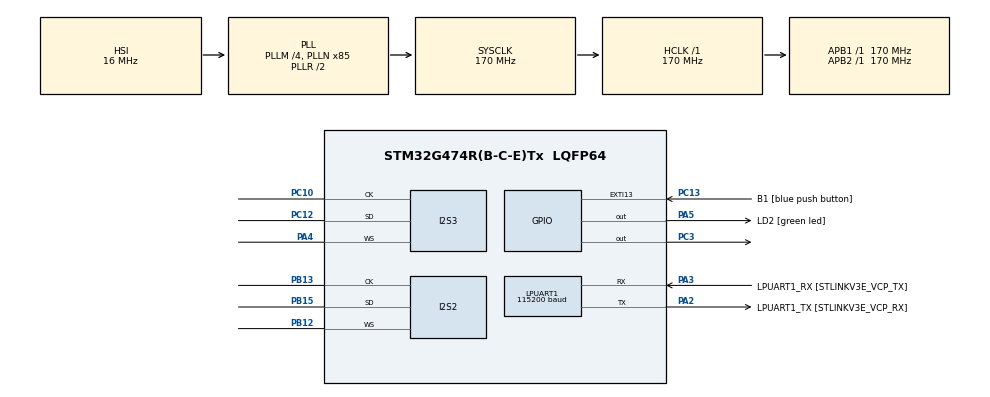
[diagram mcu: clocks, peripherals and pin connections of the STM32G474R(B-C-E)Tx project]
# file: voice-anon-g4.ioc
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Dma.LPUART1_TX.1.Direction=DMA_MEMORY_TO_PERIPH
Dma.LPUART1_TX.1.EventEnable=DISABLE
Dma.LPUART1_TX.1.Instance=DMA1_Channel2
Dma.LPUART1_TX.1.MemDataAlignment=DMA_MDATAALIGN_BYTE
Dma.LPUART1_TX.1.MemInc=DMA_MINC_ENABLE
Dma.LPUART1_TX.1.Mode=DMA_NORMAL
Dma.LPUART1_TX.1.PeriphDataAlignment=DMA_PDATAALIGN_BYTE
Dma.LPUART1_TX.1.PeriphInc=DMA_PINC_DISABLE
Dma.LPUART1_TX.1.Polarity=HAL_DMAMUX_REQ_GEN_RISING
Dma.LPUART1_TX.1.Priority=DMA_PRIORITY_LOW
Dma.LPUART1_TX.1.RequestNumber=1
Dma.LPUART1_TX.1.SignalID=NONE
Dma.LPUART1_TX.1.SyncEnable=DISABLE
Dma.LPUART1_TX.1.SyncPolarity=HAL_DMAMUX_SYNC_NO_EVENT
Dma.LPUART1_TX.1.SyncRequestNumber=1
Dma.LPUART1_TX.1.SyncSignalID=NONE
Dma.Request0=SPI2_RX
Dma.Request1=LPUART1_TX
Dma.Request2=SPI3_TX
Dma.SPI2_RX.0.Direction=DMA_PERIPH_TO_MEMORY
Dma.SPI2_RX.0.EventEnable=DISABLE
Dma.SPI2_RX.0.Instance=DMA1_Channel1
Dma.SPI2_RX.0.MemDataAlignment=DMA_MDATAALIGN_HALFWORD
Dma.SPI2_RX.0.MemInc=DMA_MINC_ENABLE
Dma.SPI2_RX.0.Mode=DMA_CIRCULAR
Dma.SPI2_RX.0.PeriphDataAlignment=DMA_PDATAALIGN_HALFWORD
Dma.SPI2_RX.0.PeriphInc=DMA_PINC_DISABLE
Dma.SPI2_RX.0.Polarity=HAL_DMAMUX_REQ_GEN_RISING
Dma.SPI2_RX.0.Priority=DMA_PRIORITY_LOW
Dma.SPI2_RX.0.RequestNumber=1
Dma.SPI2_RX.0.SignalID=NONE
Dma.SPI2_RX.0.SyncEnable=DISABLE
Dma.SPI2_RX.0.SyncPolarity=HAL_DMAMUX_SYNC_NO_EVENT
Dma.SPI2_RX.0.SyncRequestNumber=1
Dma.SPI2_RX.0.SyncSignalID=NONE
Dma.SPI3_TX.2.Direction=DMA_MEMORY_TO_PERIPH
Dma.SPI3_TX.2.EventEnable=DISABLE
Dma.SPI3_TX.2.Instance=DMA1_Channel3
Dma.SPI3_TX.2.MemDataAlignment=DMA_MDATAALIGN_HALFWORD
Dma.SPI3_TX.2.MemInc=DMA_MINC_ENABLE
Dma.SPI3_TX.2.Mode=DMA_CIRCULAR
Dma.SPI3_TX.2.PeriphDataAlignment=DMA_PDATAALIGN_HALFWORD
Dma.SPI3_TX.2.PeriphInc=DMA_PINC_DISABLE
Dma.SPI3_TX.2.Polarity=HAL_DMAMUX_REQ_GEN_RISING
Dma.SPI3_TX.2.Priority=DMA_PRIORITY_LOW
Dma.SPI3_TX.2.RequestNumber=1
Dma.SPI3_TX.2.SignalID=NONE
Dma.SPI3_TX.2.SyncEnable=DISABLE
Dma.SPI3_TX.2.SyncPolarity=HAL_DMAMUX_SYNC_NO_EVENT
Dma.SPI3_TX.2.SyncRequestNumber=1
Dma.SPI3_TX.2.SyncSignalID=NONE
I2S2.AudioFreq=I2S_AUDIOFREQ_8K
I2S2.DataFormat=I2S_DATAFORMAT_16B_EXTENDED
I2S2.ErrorAudioFreq=0.0 %
I2S2.FullDuplexMode=I2S_FULLDUPLEXMODE_DISABLE
I2S2.Instance=SPI$Index
I2S2.Mode=I2S_MODE_MASTER_RX
I2S2.RealAudioFreq=8.0 KHz
I2S2.VirtualMode=I2S_MODE_MASTER
I2S3.AudioFreq=I2S_AUDIOFREQ_8K
I2S3.DataFormat=I2S_DATAFORMAT_16B_EXTENDED
I2S3.ErrorAudioFreq=0.0 %
I2S3.FullDuplexMode=I2S_FULLDUPLEXMODE_DISABLE
I2S3.Instance=SPI$Index
I2S3.RealAudioFreq=8.0 KHz
I2S3.VirtualMode=I2S_MODE_MASTER
LPUART1.BaudRate=115200
LPUART1.Mode=UART_MODE_TX_RX
Mcu.Family=STM32G4
Mcu.Name=STM32G474R(B-C-E)Tx
Mcu.Package=LQFP64
NVIC.DMA1_Channel1_IRQn=true\:0\:0\:false\:false\:true\:false\:true\:true
NVIC.DMA1_Channel2_IRQn=true\:0\:0\:false\:false\:true\:false\:true\:true
NVIC.DMA1_Channel3_IRQn=true\:0\:0\:false\:false\:true\:false\:true\:true
NVIC.EXTI15_10_IRQn=true\:0\:0\:false\:false\:true\:true\:true\:true
NVIC.LPUART1_IRQn=true\:0\:0\:false\:false\:true\:true\:true\:true
NVIC.PriorityGroup=NVIC_PRIORITYGROUP_4
PA13.GPIO_Label=T_SWDIO
PA13.Signal=SYS_JTMS-SWDIO
PA14.GPIO_Label=T_SWCLK
PA14.Signal=SYS_JTCK-SWCLK
PA2.GPIO_Label=LPUART1_TX [STLINKV3E_VCP_RX]
PA2.Mode=Asynchronous
PA2.Signal=LPUART1_TX
PA3.GPIO_Label=LPUART1_RX [STLINKV3E_VCP_TX]
PA3.Mode=Asynchronous
PA3.Signal=LPUART1_RX
PA4.Mode=Half_Duplex_Master
PA4.Signal=I2S3_WS
PA5.GPIO_Label=LD2 [green led]
PA5.Signal=GPIO_Output
PB12.Mode=Half_Duplex_Master
PB12.Signal=I2S2_WS
PB13.Mode=Half_Duplex_Master
PB13.Signal=I2S2_CK
PB15.Mode=Half_Duplex_Master
PB15.Signal=I2S2_SD
PB3.GPIO_Label=T_SWO
PB3.Signal=SYS_JTDO-SWO
PC10.Mode=Half_Duplex_Master
PC10.Signal=I2S3_CK
PC12.Mode=Half_Duplex_Master
PC12.Signal=I2S3_SD
PC13.GPIO_Label=B1 [blue push button]
PC13.Signal=GPXTI13
PC14-OSC32_IN.Signal=RCC_OSC32_IN
PC15-OSC32_OUT.Signal=RCC_OSC32_OUT
PC3.Signal=GPIO_Output
PF0-OSC_IN.Signal=RCC_OSC_IN
PF1-OSC_OUT.Signal=RCC_OSC_OUT
ProjectManager.HeapSize=0x200
ProjectManager.StackSize=0x400
ProjectManager.TargetToolchain=STM32CubeIDE
RCC.ADC12Freq_Value=170000000
RCC.ADC345Freq_Value=170000000
RCC.AHBFreq_Value=170000000
RCC.APB1Freq_Value=170000000
RCC.APB1TimFreq_Value=170000000
RCC.APB2Freq_Value=170000000
RCC.APB2TimFreq_Value=170000000
RCC.CortexFreq_Value=170000000
RCC.EXTERNAL_CLOCK_VALUE=12288000
RCC.HCLKFreq_Value=170000000
RCC.HSE_VALUE=24000000
RCC.HSI48_VALUE=48000000
RCC.HSI_VALUE=16000000
RCC.LSE_VALUE=32768
RCC.PLLM=RCC_PLLM_DIV4
RCC.PLLN=85
RCC.RTCClockSelection=RCC_RTCCLKSOURCE_LSE
RCC.SYSCLKFreq_VALUE=170000000
RCC.SYSCLKSource=RCC_SYSCLKSOURCE_PLLCLK
RCC.USBFreq_Value=170000000
RCC.VCOOutputFreq_Value=340000000
STMicroelectronics.X-CUBE-ALGOBUILD.1.3.0.LibraryCcDSPOoLibraryJjDSPOoLibrary=true
VP_STMicroelectronics.X-CUBE-ALGOBUILD_VS_DSPOoLibraryJjLibrary_1.3.0_1.3.0.Mode=DSPOoLibraryJjLibrary
VP_SYS_VS_DBSignals.Mode=DisableDeadBatterySignals
board=NUCLEO-G474RE

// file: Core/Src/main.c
/* USER CODE BEGIN Header */
/**
  ******************************************************************************
  * @file           : main.c
  * @brief          : Main program body
  ******************************************************************************
  * @attention
  *
  * Copyright (c) 2023 STMicroelectronics.
  * All rights reserved.
  *
  * This software is licensed under terms that can be found in the LICENSE file
  * in the root directory of this software component.
  * If no LICENSE file comes with this software, it is provided AS-IS.
  *
  ******************************************************************************
  */
/* USER CODE END Header */
#include "main.h"

/* USER CODE BEGIN Includes */
#include "stdio.h"
#include "stdlib.h"
#include "math.h"
/* USER CODE END Includes */

/* USER CODE BEGIN PD */
#define SAMPLE_SIZE 8 * 1280
/* USER CODE END PD */

I2S_HandleTypeDef hi2s2;
I2S_HandleTypeDef hi2s3;
DMA_HandleTypeDef hdma_spi2_rx;
DMA_HandleTypeDef hdma_spi3_tx;

UART_HandleTypeDef hlpuart1;
DMA_HandleTypeDef hdma_lpuart1_tx;

/* USER CODE BEGIN PV */
int16_t i2s_rxBuf[SAMPLE_SIZE];
int16_t i2s_txBuf[SAMPLE_SIZE];

int16_t dataBuf[SAMPLE_SIZE/4];

volatile uint8_t rxBuf_status = 0; // 0 = empty, 1 = half, 2 = full
volatile int debug_sample_i2s;
/* USER CODE END PV */

void SystemClock_Config(void);
static void MX_GPIO_Init(void);
static void MX_DMA_Init(void);
static void MX_I2S2_Init(void);
static void MX_LPUART1_UART_Init(void);
static void MX_I2S3_Init(void);

/* USER CODE BEGIN 0 */
#define WIN_LENGTH SAMPLE_SIZE / 4
#define WIN_SHIFT WIN_LENGTH / 2
#define LPC_LEN 10
#define TRIGGER_TRESH 2000
//float *hann_coef;

typedef struct {
	int m, n;
	float ** v;
} mat_t, *mat;

mat matrix_new(int m, int n)
{
	mat x = (mat)malloc(sizeof(mat_t));
	x->v = (float**)malloc(sizeof(float*) * m);
	x->v[0] = (float*)calloc(sizeof(float), m * n);
	for (int i = 0; i < m; i++)
		x->v[i] = x->v[0] + n * i;
	x->m = m;
	x->n = n;
	return x;
}

void matrix_delete(mat m)
{
	free(m->v[0]);
	free(m->v);
	free(m);
}

void matrix_transpose(mat m)
{
	for (int i = 0; i < m->m; i++) {
		for (int j = 0; j < i; j++) {
			double t = m->v[i][j];
			m->v[i][j] = m->v[j][i];
			m->v[j][i] = t;
		}
	}
}

mat matrix_copy(int n, float a[][LPC_LEN], int m)
{
	mat x = matrix_new(m, n);
	for (int i = 0; i < m; i++)
		for (int j = 0; j < n; j++)
			x->v[i][j] = a[i][j];
	return x;
}

mat matrix_mul(mat x, mat y)
{
	if (x->n != y->m) return 0;
	mat r = matrix_new(x->m, y->n);
	for (int i = 0; i < x->m; i++)
		for (int j = 0; j < y->n; j++)
			for (int k = 0; k < x->n; k++)
				r->v[i][j] += x->v[i][k] * y->v[k][j];
	return r;
}

void gram_schmidt(mat m, mat *R, mat *Q)
{
	*Q = matrix_new(m->m, m->n);
	for (int col = 0 ; col < m->m; ++col){
		// Assign vector V_i
		for (int row = 0; row < m->n; ++row){
			(*Q)->v[row][col] = m->v[row][col];
		}
		// Subtract the projections of V_i onto the previous vectors V_i-1.. V_i-2 ... V_1
		for (int proj_col = col; proj_col > 0; --proj_col){
			// compute the dot product (u_proj_col . v) and l2 norm (||u_proj_col||^2)
			float dot_prod = 0;
			float l2_norm = 0;
			for(int row = 0; row < m->n; ++row){
				float val = ((*Q)->v[row][proj_col - 1]);
				l2_norm += val * val;
				dot_prod += m->v[row][col] * ((*Q)->v[row][proj_col - 1]);
			}
			for(int row = 0; row < m->n; ++row){
				(*Q)->v[row][col] -= (((*Q)->v[row][proj_col - 1] * dot_prod) / l2_norm);
			}
		}
		// normalize the basis column vectors
		float norms[LPC_LEN] = {0};
		for (int row = 0; row < m->m; ++row){
			for(int col = 0; col < m->n; ++col){
				float val = (*Q)->v[row][col];
				norms[col] += val * val;
			}
		}
		for (int row = 0; row < m->m; ++row){
			for(int col = 0; col < m->n; ++col){
				(*Q)->v[row][col] /= sqrt(norms[col]);
			}
		}
	}
	matrix_transpose(*Q);
	*R = matrix_mul(*Q, m);
	matrix_transpose(*Q);
}
void eigenvals(mat m, float eigen[][2]){
	float epsilon = 0.0001;
	for(int i = 0; i < m->m; ++i){
		// check the entries off the diagonals for the complex eigenvals
		if(i + 1 < m->m) {
			if(fabs(m->v[i + 1][i]) > epsilon){
				float b = (m->v[i][i] + m->v[i + 1][i + 1]);
				float c =  (m->v[i][i] * m->v[i + 1][i + 1]) - (m->v[i + 1][i] * m->v[i][i + 1]);
				float complex_val = sqrt(fabs(b * b - 4 * c)) / 2;
				eigen[i][0] = eigen[i + 1][0] = b / 2;
				eigen[i][1] = complex_val;
				eigen[i + 1][1] = -complex_val;
				++i; // skip the next diagonal since it is a complex conjugate of the previous
			}
			else{
				eigen[i][0] = m->v[i][i];
				eigen[i][1] = 0;
			}
		}
		else{
			// If it isn't a complex eigenval, it must be real
			eigen[i][0] = m->v[i][i];
			eigen[i][1] = 0;
		}
	}
}

void swap(float *xp[2], float *yp[2])
{
    float real = *xp[0];
    float imag = *xp[1];
    *xp[0] = *yp[0];
    *xp[1] = *yp[1];
    *yp[0] = real;
    *yp[1] = imag;
}

void complex_mul(float xp[2], float yp[2], float out[2]){
	float a = xp[0];
	float b = xp[1];
	float c = yp[0];
	float d = yp[1];
	out[0] += a * c + -(b * d);
	out[1] += a * d + b * c;
}

void filter1(const float *b, const float *a, size_t filterLength, const float *in, float *out, size_t length) {
    const float a0 = a[0];
    const float *a_end = &a[filterLength-1];
    const float *out_start = out;
    a++;
    out--;
    size_t m;
    for (m = 0; m < length; m++) {
        const float *b_macc = b;
        const float *in_macc = in;
        const float *a_macc = a;
        const float *out_macc = out;
        float b_acc = (*in_macc--) * (*b_macc++);
        float a_acc = 0;
        while (a_macc <= a_end && out_macc >= out_start) {
            b_acc += (*in_macc--) * (*b_macc++);
            a_acc += (*out_macc--) * (*a_macc++);
        }
        *++out = (b_acc - a_acc) / a0;
        in++;
    }
}

void voice_obfuscation(int16_t *input, int16_t *output) {
	   float PI = 2 * acos(0.0);
	    float frame[WIN_LENGTH];
		float input_max = 0;
		float sum = 0;
		for(int i = 0; i < WIN_LENGTH; ++i){
			if(input_max < abs(input[i])){
				input_max = abs(input[i]);
			}
			sum += input[i];
		}
		sum /= WIN_LENGTH;

		for(int i = 0; i < WIN_LENGTH; ++i){
			frame[i] = (float)((float)input[i] - sum) / (input_max);
		}

	    // Linear predictive coding
	    // First calulate the autocovariance
	    float r_x[LPC_LEN + 1];
	    for (size_t i = 0; i < LPC_LEN + 1; ++i){
	        r_x[i] = 0;
	        for (size_t j = 0; j < WIN_LENGTH - i; ++j){
	            r_x[i] += frame[j] * frame[j + i];
	        }
	    }

	    // given the autocorrelation vector, solve for the coefficients
	    // Set up the autocovariance matrix
	    float R_x[LPC_LEN + 1][LPC_LEN + 2] = {0};
	    for (int32_t i = 0; i < LPC_LEN + 1; ++i){
	        for (int32_t j = 0; j < LPC_LEN + 1; ++j){
	            if(i + j < LPC_LEN + 1){
	                R_x[i][i + j] = r_x[j];
	            }
	            if(i - j >= 0){
	                R_x[i][i - j] = r_x[j];
	            }
	        }
	    }
	    R_x[0][LPC_LEN + 1] = 1;
	    float c = 0;
	    /* Now finding the elements of diagonal matrix */
	    for(int j = 0; j < LPC_LEN + 1; j++) {
	        for(int i = 0; i < LPC_LEN + 1; i++) {
	            if(i != j) {
	                c= R_x[i][j] / R_x[j][j];
	                for(int k = 0; k < LPC_LEN + 2; k++) {
	                    R_x[i][k] = R_x[i][k] - c * R_x[j][k];
	                }
	            }
	        }
	    }
	    float a[LPC_LEN + 1] = {0};
	    float scale = 0;
	    for(int i = 0; i < LPC_LEN + 1; ++i){
	        a[i] = R_x[i][LPC_LEN + 1] / R_x[i][i];
	    }
	    scale = a[0];
	    for(int i = 0; i < LPC_LEN + 1; ++i){
	        a[i] /= scale;
	    }

	    //build the companion matrix
	    float companion[LPC_LEN][LPC_LEN] = {0};
	    for(uint32_t j = 0; j < LPC_LEN; ++j){
	        companion[0][j] = -a[j + 1];
	    }
	    for(uint32_t i = 1; i < LPC_LEN; ++i){
	        companion[i][i - 1] = 1;
	    }

		mat m = matrix_copy(LPC_LEN, companion, LPC_LEN);
		for (size_t i = 0; i < 28; ++i){
			mat R, Q;
			gram_schmidt(m, &R, &Q);
			matrix_delete(m);
			m = matrix_mul(R, Q);
			matrix_delete(R);
			matrix_delete(Q);
		}
		float eigen[LPC_LEN][2] = {0};
		eigenvals(m, eigen);
		for(int i = 0; i < LPC_LEN; ++i){
			if(eigen[i][1] != 0){
				float angle = atan(eigen[i][1] / eigen[i][0]);
				if(angle < 0)
					angle += PI;
				angle = pow(angle, 0.9);
				if(angle > PI)
					angle = PI;
				if(angle < 0)
					angle = 0;
				float mag = sqrt(eigen[i][1] * eigen[i][1] + eigen[i][0] * eigen[i][0]);
				eigen[i][0] = mag * cos(angle);
				eigen[i][1] = mag * sin(angle);
				eigen[i + 1][0] = mag * cos(angle);
				eigen[i + 1][1] = -mag * sin(angle);
				++i;
			}
		}
		matrix_delete(m);

		float poly_coefficients[LPC_LEN + 1][2] = {0};
		poly_coefficients[0][0] = 1;
		poly_coefficients[0][1] = 0;
		poly_coefficients[1][0] = -eigen[0][0];
		poly_coefficients[1][1] = -eigen[0][1];
		for(int i = 1; i < LPC_LEN; ++i){
			float window[2][2] = {{-eigen[i][0],-eigen[i][1]}, {1,0}};
			float temp_coefficients[LPC_LEN + 1][2] = {0};
			temp_coefficients[0][0] = 1;
			temp_coefficients[0][1] = 0;
			for(int j = 0; j < i; ++j){
				complex_mul(poly_coefficients[j], window[0], temp_coefficients[j + 1]);
				complex_mul(poly_coefficients[j + 1], window[1], temp_coefficients[j + 1]);
			}
			complex_mul(poly_coefficients[i], window[0], temp_coefficients[i + 1]);
			for(int j = 0; j < i + 2; ++ j){
				poly_coefficients[j][0] = temp_coefficients[j][0];
				poly_coefficients[j][1] = temp_coefficients[j][1];
			}
		}

		float a_lpc_new[LPC_LEN + 1];
		for(int i = 0; i < LPC_LEN + 1; ++i){
			a_lpc_new[i] = poly_coefficients[i][0];
		}
		float out[WIN_LENGTH] = {0};
		filter1(a, a_lpc_new, LPC_LEN + 1, frame, out, WIN_LENGTH);
		float max_peak = 0;
		for(int i = 0; i < WIN_LENGTH; ++i){
			// out[i] *= hann_coef[i];
			if(max_peak < abs(out[i])){
				max_peak = abs(out[i]);
			}
		}
		for(int i = 0; i < WIN_LENGTH; ++i){
			output[i] = (int16_t)((out[i]) * INT16_MAX - 1) + sum;
		}
}
/* USER CODE END 0 */

int main(void)
{

  /* MCU Configuration--------------------------------------------------------*/

  /* Reset of all peripherals, Initializes the Flash interface and the Systick. */
  HAL_Init();

  /* Configure the system clock */
  SystemClock_Config();

  /* USER CODE BEGIN SysInit */
//	float PI = 2 * acos(0.0);
//	float *hann_coef = malloc(sizeof(float) * WIN_LENGTH);
//	float maximum_val = 0;
//	float K = 0;
//	for (size_t i = 0; i <= (WIN_LENGTH / 2); ++i){
//		float temp = 0.5 * (1 - cos((PI * 2 * i) / WIN_LENGTH));
//		hann_coef[i] = temp;
//		hann_coef[WIN_LENGTH - 1 - i] = temp;
//		K += 2 * temp;
//		maximum_val = fmax(temp, maximum_val);
//	}
//	for(size_t i = 0; i < WIN_LENGTH; ++i){
//		hann_coef[i] = sqrt((hann_coef[i] * WIN_SHIFT ) / (maximum_val * K));
//	}
  /* USER CODE END SysInit */

  /* Initialize all configured peripherals */
  MX_GPIO_Init();
  MX_DMA_Init();
  MX_I2S2_Init();
  MX_LPUART1_UART_Init();
  MX_I2S3_Init();
  /* USER CODE BEGIN 2 */
  HAL_I2S_Receive_DMA(&hi2s2, (uint16_t *)i2s_rxBuf, SAMPLE_SIZE);
  HAL_I2S_Transmit_DMA(&hi2s3, (uint16_t *)i2s_txBuf, SAMPLE_SIZE);
  uint8_t prev_rxBuf_status = 0;
  /* USER CODE END 2 */

  /* Infinite loop */
  /* USER CODE BEGIN WHILE */
//  int16_t temp[WIN_LENGTH];
//  int16_t temp_out[WIN_LENGTH];
  while (1)
  {

    /* USER CODE END WHILE */

    /* USER CODE BEGIN 3 */
	  int dataBuf_ptr = 0;
	  int txBuf_ptr = 0;

	  if(rxBuf_status == 1){
//		  if(prev_rxBuf_status == 1) exit(1); // DEBUG DOUBLING
//		  printf("rxBuf half\n");  // DEBUG PRINTMSG

		  /* READ IN MICROPHONE DATA */
		  int uter_trigger = 0;
		  for(int i = 0; i < SAMPLE_SIZE/2; i = i+2){
				dataBuf[dataBuf_ptr] = i2s_rxBuf[i];
				if(abs(dataBuf[dataBuf_ptr]) > TRIGGER_TRESH)
					uter_trigger = 1;
		  		++dataBuf_ptr;
//				debug_sample_i2s = i2s_rxBuf[i]; // DEBUG READ DATA
//				i2s_txBuf[i] = i2s_rxBuf[i]; // DIRECT DATA TRANSFER
		  }

		  /* PERFORM VOICE OBFUSCATION */
//		  HAL_Delay(15);
		  int16_t i2s_temp_buf[WIN_LENGTH];
		  txBuf_ptr = 0;
		  if(uter_trigger)
			  voice_obfuscation(dataBuf, i2s_temp_buf);
		  else{
			  for(int i = 0; i < WIN_LENGTH; ++i){
				  i2s_temp_buf[i] = 0;
			  }
		  }

		  /* TRANSFER THE OBFUSCATED AUDIO TO TX BUFFER */
		  for(int j = 0; j < SAMPLE_SIZE/4; ++j){
			  i2s_txBuf[txBuf_ptr] = i2s_temp_buf[j];
			  txBuf_ptr = txBuf_ptr + 2;
		  }
		  HAL_GPIO_WritePin(GPIOC, GPIO_PIN_3, GPIO_PIN_RESET); // DEBUG TIMING

		  /* SET FLAGS */
		  rxBuf_status = 0;
		  prev_rxBuf_status = 1;
	  }

	  else if (rxBuf_status == 2){
//		  if(prev_rxBuf_status == 2) exit(1); // DEBUG DOUBLING
//		  printf("rxBuf full\n"); // DEBUG PRINTMSG

		  /* READ IN MICROPHONE DATA */
		  int uter_trigger = 0;
		  for(int i = SAMPLE_SIZE/2; i < SAMPLE_SIZE; i = i+2){
			    dataBuf[dataBuf_ptr] = i2s_rxBuf[i];
				if(abs(dataBuf[dataBuf_ptr]) > TRIGGER_TRESH)
					uter_trigger = 1;
				++dataBuf_ptr;
//				debug_sample_i2s = i2s_rxBuf[i]; // DEBUG READ DATA
//				i2s_txBuf[i] = i2s_rxBuf[i]; // DIRECT DATA TRANSFER
		  }

		  /* PERFORM VOICE OBFUSCATION */
//		  HAL_Delay(15);
		  int16_t i2s_temp_buf[WIN_LENGTH];
		  txBuf_ptr = SAMPLE_SIZE/2; // STARTS FROM THE HALF-FILLED POSITION
		  if(uter_trigger)
			  voice_obfuscation(dataBuf, i2s_temp_buf);
		  else{
			  for(int i = 0; i < WIN_LENGTH; ++i){
				  i2s_temp_buf[i] = 0;
			  }
		  }
		  /* TRANSFER THE OBFUSCATED AUDIO TO TX BUFFER */
		  for(int j = 0; j < SAMPLE_SIZE/4; ++j){
			  i2s_txBuf[txBuf_ptr] = i2s_temp_buf[j];
			  txBuf_ptr = txBuf_ptr + 2;
		  }
//		  HAL_I2S_Transmit_DMA(&hi2s3, (uint16_t *)i2s_txBuf, SAMPLE_SIZE); // DEBUG NON-CIRCULAR TRANSMIT
		  HAL_GPIO_WritePin(GPIOC, GPIO_PIN_3, GPIO_PIN_RESET); // DEBUG TIMING

		  /* SET FLAGS */
		  rxBuf_status = 0;
		  prev_rxBuf_status = 2;
	  }
  }
  /* USER CODE END 3 */
}

void SystemClock_Config(void)
{
  RCC_OscInitTypeDef RCC_OscInitStruct = {0};
  RCC_ClkInitTypeDef RCC_ClkInitStruct = {0};

  /** Configure the main internal regulator output voltage
  */
  HAL_PWREx_ControlVoltageScaling(PWR_REGULATOR_VOLTAGE_SCALE1_BOOST);

  /** Initializes the RCC Oscillators according to the specified parameters
  * in the RCC_OscInitTypeDef structure.
  */
  RCC_OscInitStruct.OscillatorType = RCC_OSCILLATORTYPE_HSI;
  RCC_OscInitStruct.HSIState = RCC_HSI_ON;
  RCC_OscInitStruct.HSICalibrationValue = RCC_HSICALIBRATION_DEFAULT;
  RCC_OscInitStruct.PLL.PLLState = RCC_PLL_ON;
  RCC_OscInitStruct.PLL.PLLSource = RCC_PLLSOURCE_HSI;
  RCC_OscInitStruct.PLL.PLLM = RCC_PLLM_DIV4;
  RCC_OscInitStruct.PLL.PLLN = 85;
  RCC_OscInitStruct.PLL.PLLP = RCC_PLLP_DIV2;
  RCC_OscInitStruct.PLL.PLLQ = RCC_PLLQ_DIV2;
  RCC_OscInitStruct.PLL.PLLR = RCC_PLLR_DIV2;
  if (HAL_RCC_OscConfig(&RCC_OscInitStruct) != HAL_OK)
  {
    Error_Handler();
  }

  /** Initializes the CPU, AHB and APB buses clocks
  */
  RCC_ClkInitStruct.ClockType = RCC_CLOCKTYPE_HCLK|RCC_CLOCKTYPE_SYSCLK
                              |RCC_CLOCKTYPE_PCLK1|RCC_CLOCKTYPE_PCLK2;
  RCC_ClkInitStruct.SYSCLKSource = RCC_SYSCLKSOURCE_PLLCLK;
  RCC_ClkInitStruct.AHBCLKDivider = RCC_SYSCLK_DIV1;
  RCC_ClkInitStruct.APB1CLKDivider = RCC_HCLK_DIV1;
  RCC_ClkInitStruct.APB2CLKDivider = RCC_HCLK_DIV1;

  if (HAL_RCC_ClockConfig(&RCC_ClkInitStruct, FLASH_LATENCY_4) != HAL_OK)
  {
    Error_Handler();
  }
}

static void MX_I2S2_Init(void)
{

  hi2s2.Instance = SPI2;
  hi2s2.Init.Mode = I2S_MODE_MASTER_RX;
  hi2s2.Init.Standard = I2S_STANDARD_PHILIPS;
  hi2s2.Init.DataFormat = I2S_DATAFORMAT_16B_EXTENDED;
  hi2s2.Init.MCLKOutput = I2S_MCLKOUTPUT_DISABLE;
  hi2s2.Init.AudioFreq = I2S_AUDIOFREQ_8K;
  hi2s2.Init.CPOL = I2S_CPOL_LOW;
  if (HAL_I2S_Init(&hi2s2) != HAL_OK)
  {
    Error_Handler();
  }

}

static void MX_I2S3_Init(void)
{

  hi2s3.Instance = SPI3;
  hi2s3.Init.Mode = I2S_MODE_MASTER_TX;
  hi2s3.Init.Standard = I2S_STANDARD_PHILIPS;
  hi2s3.Init.DataFormat = I2S_DATAFORMAT_16B_EXTENDED;
  hi2s3.Init.MCLKOutput = I2S_MCLKOUTPUT_DISABLE;
  hi2s3.Init.AudioFreq = I2S_AUDIOFREQ_8K;
  hi2s3.Init.CPOL = I2S_CPOL_LOW;
  if (HAL_I2S_Init(&hi2s3) != HAL_OK)
  {
    Error_Handler();
  }

}

static void MX_LPUART1_UART_Init(void)
{

  hlpuart1.Instance = LPUART1;
  hlpuart1.Init.BaudRate = 115200;
  hlpuart1.Init.WordLength = UART_WORDLENGTH_8B;
  hlpuart1.Init.StopBits = UART_STOPBITS_1;
  hlpuart1.Init.Parity = UART_PARITY_NONE;
  hlpuart1.Init.Mode = UART_MODE_TX_RX;
  hlpuart1.Init.HwFlowCtl = UART_HWCONTROL_NONE;
  hlpuart1.Init.OneBitSampling = UART_ONE_BIT_SAMPLE_DISABLE;
  hlpuart1.Init.ClockPrescaler = UART_PRESCALER_DIV1;
  hlpuart1.AdvancedInit.AdvFeatureInit = UART_ADVFEATURE_NO_INIT;
  if (HAL_UART_Init(&hlpuart1) != HAL_OK)
  {
    Error_Handler();
  }
  if (HAL_UARTEx_SetTxFifoThreshold(&hlpuart1, UART_TXFIFO_THRESHOLD_1_8) != HAL_OK)
  {
    Error_Handler();
  }
  if (HAL_UARTEx_SetRxFifoThreshold(&hlpuart1, UART_RXFIFO_THRESHOLD_1_8) != HAL_OK)
  {
    Error_Handler();
  }
  if (HAL_UARTEx_DisableFifoMode(&hlpuart1) != HAL_OK)
  {
    Error_Handler();
  }

}

static void MX_DMA_Init(void)
{

  /* DMA controller clock enable */
  __HAL_RCC_DMAMUX1_CLK_ENABLE();
  __HAL_RCC_DMA1_CLK_ENABLE();

  /* DMA interrupt init */
  /* DMA1_Channel1_IRQn interrupt configuration */
  HAL_NVIC_SetPriority(DMA1_Channel1_IRQn, 0, 0);
  HAL_NVIC_EnableIRQ(DMA1_Channel1_IRQn);
  /* DMA1_Channel2_IRQn interrupt configuration */
  HAL_NVIC_SetPriority(DMA1_Channel2_IRQn, 0, 0);
  HAL_NVIC_EnableIRQ(DMA1_Channel2_IRQn);
  /* DMA1_Channel3_IRQn interrupt configuration */
  HAL_NVIC_SetPriority(DMA1_Channel3_IRQn, 0, 0);
  HAL_NVIC_EnableIRQ(DMA1_Channel3_IRQn);

}

static void MX_GPIO_Init(void)
{
  GPIO_InitTypeDef GPIO_InitStruct = {0};

  /* GPIO Ports Clock Enable */
  __HAL_RCC_GPIOC_CLK_ENABLE();
  __HAL_RCC_GPIOF_CLK_ENABLE();
  __HAL_RCC_GPIOA_CLK_ENABLE();
  __HAL_RCC_GPIOB_CLK_ENABLE();

  /*Configure GPIO pin Output Level */
  HAL_GPIO_WritePin(GPIOC, GPIO_PIN_3, GPIO_PIN_RESET);

  /*Configure GPIO pin Output Level */
  HAL_GPIO_WritePin(LD2_GPIO_Port, LD2_Pin, GPIO_PIN_RESET);

  /*Configure GPIO pin : B1_Pin */
  GPIO_InitStruct.Pin = B1_Pin;
  GPIO_InitStruct.Mode = GPIO_MODE_IT_RISING;
  GPIO_InitStruct.Pull = GPIO_NOPULL;
  HAL_GPIO_Init(B1_GPIO_Port, &GPIO_InitStruct);

  /*Configure GPIO pin : PC3 */
  GPIO_InitStruct.Pin = GPIO_PIN_3;
  GPIO_InitStruct.Mode = GPIO_MODE_OUTPUT_PP;
  GPIO_InitStruct.Pull = GPIO_NOPULL;
  GPIO_InitStruct.Speed = GPIO_SPEED_FREQ_LOW;
  HAL_GPIO_Init(GPIOC, &GPIO_InitStruct);

  /*Configure GPIO pin : LD2_Pin */
  GPIO_InitStruct.Pin = LD2_Pin;
  GPIO_InitStruct.Mode = GPIO_MODE_OUTPUT_PP;
  GPIO_InitStruct.Pull = GPIO_NOPULL;
  GPIO_InitStruct.Speed = GPIO_SPEED_FREQ_LOW;
  HAL_GPIO_Init(LD2_GPIO_Port, &GPIO_InitStruct);

  /* EXTI interrupt init*/
  HAL_NVIC_SetPriority(EXTI15_10_IRQn, 0, 0);
  HAL_NVIC_EnableIRQ(EXTI15_10_IRQn);

}

/* USER CODE BEGIN 4 */
void HAL_I2S_RxHalfCpltCallback(I2S_HandleTypeDef *hi2s){
	//	 printf("half callback\n");  // DEBUG PRINTMSG
		rxBuf_status = 1;
		HAL_GPIO_WritePin(GPIOC, GPIO_PIN_3, GPIO_PIN_SET); // DEBUG TIMING
}

void HAL_I2S_RxCpltCallback(I2S_HandleTypeDef *hi2s){
	//	printf("full callback\n");  // DEBUG PRINTMSG
		rxBuf_status = 2;
		HAL_GPIO_WritePin(GPIOC, GPIO_PIN_3, GPIO_PIN_SET); // DEBUG TIMING
}

// NOTE: Can't do both UART and SWV printf at once

/* PRINTF UART SETUP*/
#ifdef __GNUC__
#define PUTCHAR_PROTOTYPE int __io_putchar(int ch)
#else
  #define PUTCHAR_PROTOTYPE int fputc(int ch, FILE *f)
#endif /* __GNUC__ */
PUTCHAR_PROTOTYPE
{
  HAL_UART_Transmit(&hlpuart1, (uint8_t *)&ch, 1, 0xFFFF);
  return ch;
}

/* PRINTF SWV SETUP*/
//int _write(int file, char *ptr, int len)
//{
//  (void)file;
//  int DataIdx;
//
//  for (DataIdx = 0; DataIdx < len; DataIdx++)
//  {
//    ITM_SendChar(*ptr++);
//  }
//  return len;
//}
/* USER CODE END 4 */

void Error_Handler(void)
{
  __disable_irq();
  while (1)
  {
  }
}
